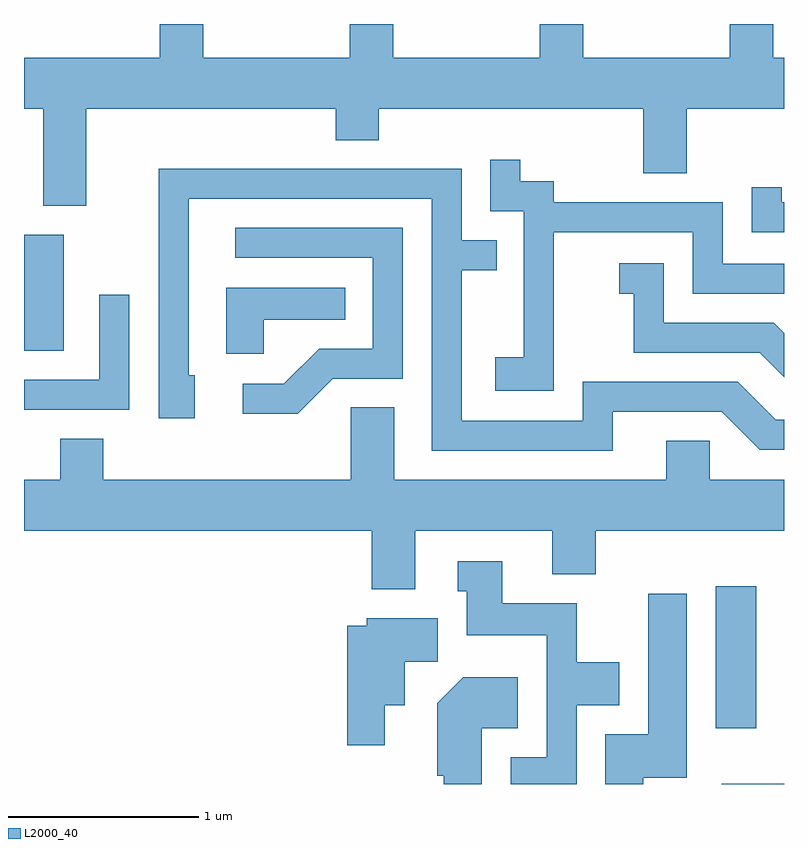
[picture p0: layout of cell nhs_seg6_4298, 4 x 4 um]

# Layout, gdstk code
import gdstk
lib = gdstk.Library(unit=1e-6, precision=1e-09)
def R(c, l, rs):  # rectangles x0, y0, x1, y1
    for r in rs: c.add(gdstk.rectangle(r[:2], r[2:], *l))
def P(c, l, *ps):  # polygons
    for p in ps: c.add(gdstk.Polygon(p, *l))
L2000_40 = (2000, 40)

nhs_seg6_4298 = lib.new_cell('nhs_seg6_4298')
R(nhs_seg6_4298, L2000_40, [(319.251,1644.456,319.464,1645.204), (315.611,1646.441,315.819,1647.054)])
P(nhs_seg6_4298, L2000_40, [(315.939,1647.716),(317.251,1647.716),(317.251,1647.551),(317.479,1647.551),(317.479,1647.716),(318.871,1647.716),(318.871,1647.376),(319.099,1647.376),(319.099,1647.716),(319.611,1647.716),(319.611,1647.984),(319.554,1647.984),(319.554,1648.162),(319.326,1648.162),(319.326,1647.984),(318.554,1647.984),(318.554,1648.162),(318.326,1648.162),(318.326,1647.984),(317.554,1647.984),(317.554,1648.162),(317.326,1648.162),(317.326,1647.984),(316.554,1647.984),(316.554,1648.162),(316.326,1648.162),(316.326,1647.984),(315.611,1647.984),(315.611,1647.716),(315.711,1647.716),(315.711,1647.206),(315.939,1647.206)],
  [(318.399,1647.066),(319.131,1647.066),(319.131,1646.741),(319.611,1646.741),(319.611,1646.899),(319.289,1646.899),(319.289,1647.224),(318.399,1647.224),(318.399,1647.334),(318.224,1647.334),(318.224,1647.448),(318.066,1647.448),(318.066,1647.176),(318.241,1647.176),(318.241,1646.409),(318.091,1646.409),(318.091,1646.231),(318.399,1646.231)],
  [(318.709,1646.121),(319.284,1646.121),(319.484,1645.921),(319.611,1645.921),(319.611,1646.079),(319.567,1646.079),(319.367,1646.279),(318.551,1646.279),(318.551,1646.074),(317.914,1646.074),(317.914,1646.866),(318.098,1646.866),(318.098,1647.024),(317.914,1647.024),(317.914,1647.399),(316.321,1647.399),(316.321,1646.086),(316.509,1646.086),(316.509,1646.314),(316.479,1646.314),(316.479,1647.241),(317.756,1647.241),(317.756,1645.916),(318.709,1645.916)],
  [(319.611,1647.224),(319.599,1647.224),(319.599,1647.303),(319.441,1647.303),(319.441,1647.066),(319.611,1647.066)],
  [(317.237,1646.296),(317.604,1646.296),(317.604,1647.089),(316.723,1647.089),(316.723,1646.931),(317.446,1646.931),(317.446,1646.454),(317.164,1646.454),(316.979,1646.269),(316.763,1646.269),(316.763,1646.111),(317.052,1646.111)],
  [(319.611,1646.535),(319.557,1646.589),(318.979,1646.589),(318.979,1646.904),(318.743,1646.904),(318.743,1646.741),(318.821,1646.741),(318.821,1646.431),(319.484,1646.431),(319.611,1646.304)],
  [(316.874,1646.606),(317.303,1646.606),(317.303,1646.774),(316.676,1646.774),(316.676,1646.426),(316.874,1646.426)],
  [(316.164,1646.738),(316.006,1646.738),(316.006,1646.289),(315.611,1646.289),(315.611,1646.131),(316.164,1646.131)],
  [(319.611,1645.764),(319.219,1645.764),(319.219,1645.969),(318.991,1645.969),(318.991,1645.764),(317.559,1645.764),(317.559,1646.144),(317.331,1646.144),(317.331,1645.764),(316.029,1645.764),(316.029,1645.979),(315.801,1645.979),(315.801,1645.764),(315.611,1645.764),(315.611,1645.496),(317.441,1645.496),(317.441,1645.186),(317.669,1645.186),(317.669,1645.496),(318.391,1645.496),(318.391,1645.266),(318.619,1645.266),(318.619,1645.496),(319.611,1645.496)],
  [(318.519,1644.576),(318.744,1644.576),(318.744,1644.804),(318.519,1644.804),(318.519,1645.114),(318.129,1645.114),(318.129,1645.334),(317.893,1645.334),(317.893,1645.176),(317.941,1645.176),(317.941,1644.946),(318.361,1644.946),(318.361,1644.304),(318.173,1644.304),(318.173,1644.162),(318.519,1644.162)],
  [(318.869,1644.196),(319.099,1644.196),(319.099,1645.164),(318.896,1645.164),(318.896,1644.424),(318.671,1644.424),(318.671,1644.162),(318.869,1644.162)],
  [(317.509,1644.576),(317.614,1644.576),(317.614,1644.806),(317.789,1644.806),(317.789,1645.034),(317.416,1645.034),(317.416,1644.994),(317.311,1644.994),(317.311,1644.366),(317.509,1644.366)],
  [(318.019,1644.456),(318.209,1644.456),(318.209,1644.724),(317.924,1644.724),(317.786,1644.587),(317.786,1644.206),(317.821,1644.206),(317.821,1644.162),(318.019,1644.162)],
  [(319.611,1644.164),(319.284,1644.164),(319.282,1644.162),(319.611,1644.162)])

lib.write_gds('nhs_seg6_4298.gds')
